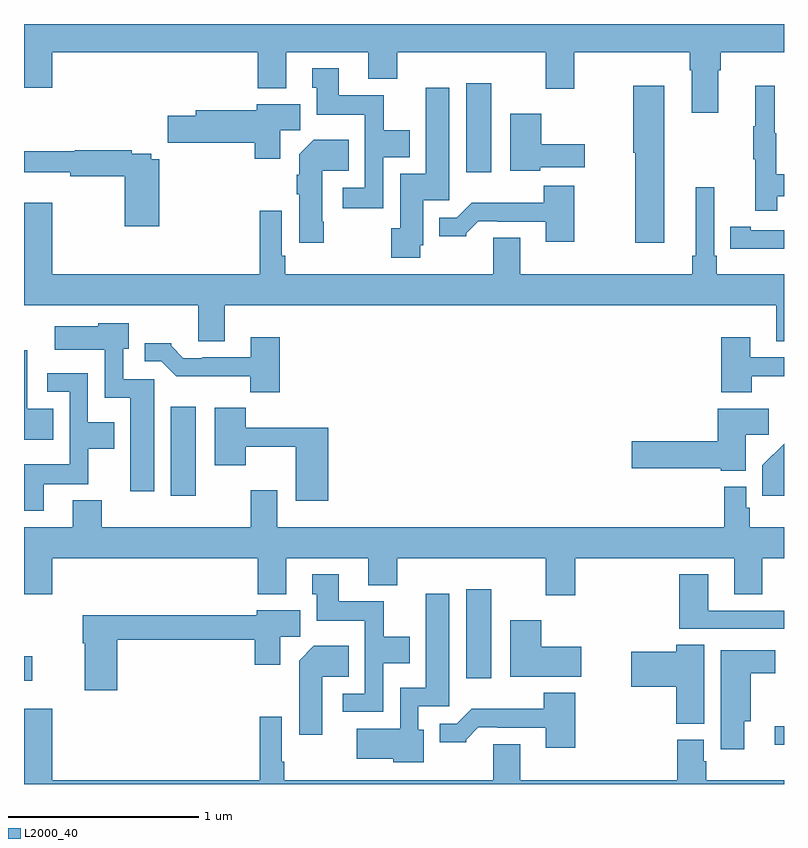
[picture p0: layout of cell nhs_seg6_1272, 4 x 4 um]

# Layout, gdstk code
import gdstk
lib = gdstk.Library(unit=1e-6, precision=1e-09)
def R(c, l, rs):  # rectangles x0, y0, x1, y1
    for r in rs: c.add(gdstk.rectangle(r[:2], r[2:], *l))
def P(c, l, *ps):  # polygons
    for p in ps: c.add(gdstk.Polygon(p, *l))
L2000_40 = (2000, 40)

nhs_seg6_1272 = lib.new_cell('nhs_seg6_1272')
R(nhs_seg6_1272, L2000_40, [(192.951,927.707,193,927.804), (189,928.043,189.043,928.173), (191.327,928.056,191.458,928.525), (189.773,929.016,189.904,929.485), (191.327,930.72,191.458,931.189)])
P(nhs_seg6_1272, L2000_40, [(189,931.164),(189.148,931.164),(189.148,931.352),(190.229,931.352),(190.229,931.163),(190.381,931.163),(190.381,931.352),(190.811,931.352),(190.811,931.211),(190.964,931.211),(190.964,931.352),(191.747,931.352),(191.747,931.158),(191.895,931.158),(191.895,931.352),(192.503,931.352),(192.503,931.256),(192.515,931.256),(192.515,931.032),(192.655,931.032),(192.655,931.256),(192.668,931.256),(192.668,931.352),(193,931.352),(193,931.5),(189,931.5)],
  [(190.89,930.8),(191.029,930.8),(191.029,930.94),(190.893,930.94),(190.893,931.126),(190.657,931.126),(190.657,931.267),(190.517,931.267),(190.517,931.164),(190.541,931.164),(190.541,931.022),(190.794,931.022),(190.794,930.639),(190.677,930.639),(190.677,930.531),(190.89,930.531)],
  [(192.965,930.594),(193,930.594),(193,930.71),(192.958,930.71),(192.958,930.924),(192.95,930.924),(192.95,931.174),(192.848,931.174),(192.848,930.961),(192.837,930.961),(192.837,930.787),(192.848,930.787),(192.848,930.516),(192.965,930.516)],
  [(192.37,931.174),(192.206,931.174),(192.206,930.822),(192.217,930.822),(192.217,930.348),(192.37,930.348)],
  [(191.085,930.336),(191.101,930.336),(191.101,930.573),(191.239,930.573),(191.239,931.165),(191.114,931.165),(191.114,930.712),(190.979,930.712),(190.979,930.426),(190.933,930.426),(190.933,930.27),(191.085,930.27)],
  [(190.348,930.94),(190.453,930.94),(190.453,931.078),(190.226,931.078),(190.226,931.047),(189.905,931.047),(189.905,931.017),(189.756,931.017),(189.756,930.875),(190.214,930.875),(190.214,930.792),(190.348,930.792)],
  [(191.718,930.746),(191.95,930.746),(191.95,930.868),(191.722,930.868),(191.722,931.027),(191.558,931.027),(191.558,930.728),(191.718,930.728)],
  [(190.578,930.46),(190.57,930.46),(190.57,930.728),(190.709,930.728),(190.709,930.892),(190.526,930.892),(190.448,930.814),(190.448,930.707),(190.436,930.707),(190.436,930.604),(190.448,930.604),(190.448,930.348),(190.578,930.348)],
  [(189.713,930.787),(189.67,930.787),(189.67,930.816),(189.566,930.816),(189.566,930.836),(189.266,930.836),(189.266,930.829),(189,930.829),(189,930.719),(189.244,930.719),(189.244,930.7),(189.53,930.7),(189.53,930.435),(189.713,930.435)],
  [(191.895,930.649),(191.735,930.649),(191.735,930.559),(191.356,930.559),(191.277,930.48),(191.186,930.48),(191.186,930.383),(191.328,930.383),(191.328,930.398),(191.392,930.462),(191.491,930.462),(191.491,930.459),(191.747,930.459),(191.747,930.354),(191.895,930.354)],
  [(190.057,930.02),(192.959,930.02),(192.959,929.83),(193,929.83),(193,930.184),(192.647,930.184),(192.647,930.28),(192.633,930.28),(192.633,930.64),(192.536,930.64),(192.536,930.28),(192.517,930.28),(192.517,930.184),(191.611,930.184),(191.611,930.374),(191.471,930.374),(191.471,930.184),(190.376,930.184),(190.376,930.28),(190.356,930.28),(190.356,930.517),(190.24,930.517),(190.24,930.184),(189.148,930.184),(189.148,930.559),(189,930.559),(189,930.02),(189.917,930.02),(189.917,929.83),(190.057,929.83)],
  [(193,930.414),(192.826,930.414),(192.826,930.434),(192.718,930.434),(192.718,930.318),(192.826,930.318),(192.826,930.317),(193,930.317)],
  [(189.685,929.631),(189.522,929.631),(189.522,929.79),(189.55,929.79),(189.55,929.926),(189.39,929.926),(189.39,929.908),(189.162,929.908),(189.162,929.786),(189.426,929.786),(189.426,929.534),(189.56,929.534),(189.56,929.04),(189.685,929.04)],
  [(192.831,929.646),(193,929.646),(193,929.745),(192.823,929.745),(192.823,929.851),(192.671,929.851),(192.671,929.561),(192.831,929.561)],
  [(190.346,929.851),(190.193,929.851),(190.193,929.745),(189.937,929.745),(189.937,929.742),(189.838,929.742),(189.774,929.806),(189.774,929.821),(189.635,929.821),(189.635,929.724),(189.723,929.724),(189.802,929.646),(190.191,929.646),(190.191,929.561),(190.346,929.561)],
  [(189.155,929.476),(189.016,929.476),(189.016,929.782),(189,929.782),(189,929.312),(189.155,929.312)],
  [(189.103,929.078),(189.339,929.078),(189.339,929.264),(189.475,929.264),(189.475,929.404),(189.336,929.404),(189.336,929.661),(189.123,929.661),(189.123,929.565),(189.24,929.565),(189.24,929.182),(189,929.182),(189,928.938),(189.103,928.938)],
  [(190.601,929.375),(190.166,929.375),(190.166,929.479),(190.004,929.479),(190.004,929.178),(190.168,929.178),(190.168,929.275),(190.43,929.275),(190.43,928.992),(190.601,928.992)],
  [(192.799,929.338),(192.92,929.338),(192.92,929.476),(192.65,929.476),(192.65,929.303),(192.198,929.303),(192.198,929.161),(192.666,929.161),(192.666,929.15),(192.799,929.15)],
  [(193,929.292),(192.886,929.178),(192.886,929.016),(193,929.016)],
  [(191.9,928.688),(192.737,928.688),(192.737,928.498),(192.885,928.498),(192.885,928.688),(193,928.688),(193,928.852),(192.821,928.852),(192.821,928.953),(192.801,928.953),(192.801,929.065),(192.685,929.065),(192.685,928.852),(190.333,928.852),(190.333,929.047),(190.193,929.047),(190.193,928.852),(189.41,928.852),(189.41,928.993),(189.257,928.993),(189.257,928.852),(189,928.852),(189,928.5),(189.148,928.5),(189.148,928.688),(190.229,928.688),(190.229,928.499),(190.381,928.499),(190.381,928.688),(190.811,928.688),(190.811,928.547),(190.964,928.547),(190.964,928.688),(191.747,928.688),(191.747,928.494),(191.9,928.494)],
  [(193,928.413),(192.601,928.413),(192.601,928.603),(192.449,928.603),(192.449,928.317),(193,928.317)],
  [(190.89,928.136),(191.029,928.136),(191.029,928.276),(190.893,928.276),(190.893,928.462),(190.657,928.462),(190.657,928.603),(190.517,928.603),(190.517,928.5),(190.541,928.5),(190.541,928.358),(190.794,928.358),(190.794,927.975),(190.677,927.975),(190.677,927.879),(190.89,927.879)],
  [(191.104,927.786),(191.076,927.786),(191.076,927.909),(191.239,927.909),(191.239,928.501),(191.114,928.501),(191.114,928.006),(190.98,928.006),(190.98,927.79),(190.752,927.79),(190.752,927.632),(190.944,927.632),(190.944,927.614),(191.104,927.614)],
  [(189.491,928.258),(190.214,928.258),(190.214,928.128),(190.348,928.128),(190.348,928.276),(190.453,928.276),(190.453,928.414),(190.226,928.414),(190.226,928.387),(189.308,928.387),(189.308,928.241),(189.32,928.241),(189.32,927.993),(189.491,927.993)],
  [(191.932,928.222),(191.722,928.222),(191.722,928.363),(191.558,928.363),(191.558,928.064),(191.932,928.064)],
  [(192.58,928.232),(192.434,928.232),(192.434,928.196),(192.195,928.196),(192.195,928.013),(192.434,928.013),(192.434,927.817),(192.58,927.817)],
  [(190.57,928.064),(190.709,928.064),(190.709,928.228),(190.526,928.228),(190.448,928.15),(190.448,927.759),(190.57,927.759)],
  [(192.79,927.83),(192.826,927.83),(192.826,928.082),(192.955,928.082),(192.955,928.204),(192.668,928.204),(192.668,927.684),(192.79,927.684)],
  [(191.9,927.979),(191.735,927.979),(191.735,927.895),(191.356,927.895),(191.277,927.816),(191.189,927.816),(191.189,927.719),(191.328,927.719),(191.328,927.734),(191.392,927.798),(191.491,927.798),(191.491,927.795),(191.747,927.795),(191.747,927.69),(191.9,927.69)],
  [(193,927.52),(192.59,927.52),(192.59,927.621),(192.577,927.621),(192.577,927.732),(192.437,927.732),(192.437,927.52),(191.611,927.52),(191.611,927.71),(191.471,927.71),(191.471,927.52),(190.369,927.52),(190.369,927.616),(190.356,927.616),(190.356,927.853),(190.24,927.853),(190.24,927.52),(189.148,927.52),(189.148,927.895),(189,927.895),(189,927.5),(193,927.5)])

lib.write_gds('nhs_seg6_1272.gds')
